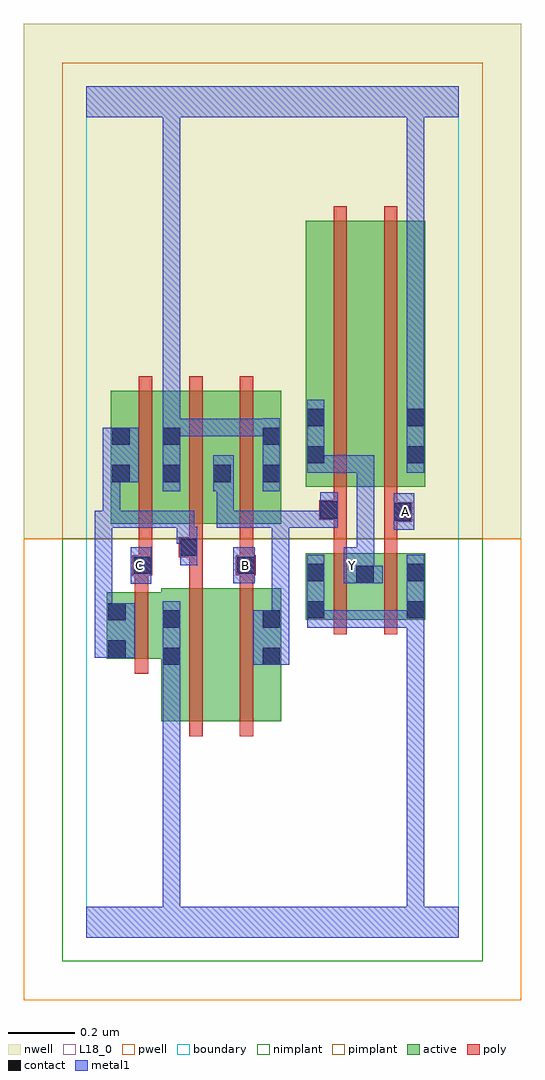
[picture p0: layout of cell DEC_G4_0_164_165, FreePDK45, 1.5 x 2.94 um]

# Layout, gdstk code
import gdstk
lib = gdstk.Library(unit=1e-6, precision=1e-09)
def R(c, l, rs):  # rectangles x0, y0, x1, y1
    for r in rs: c.add(gdstk.rectangle(r[:2], r[2:], *l))
def A(c, l, x, y, w, h, nx, ny, dx, dy):  # array of equal rectangles
    R(c, l, [(x+i*dx, y+j*dy, x+i*dx+w, y+j*dy+h) for i in range(nx) for j in range(ny)])
active = (1, 0)
pwell = (2, 0)
nwell = (3, 0)
nimplant = (4, 0)
pimplant = (5, 0)
poly = (9, 0)
contact = (10, 0)
metal1 = (11, 0)
L18_0 = (18, 0)
boundary = (235, 0)

dec_g4_0_164_165 = lib.new_cell('DEC_G4_0_164_165')
A(dec_g4_0_164_165, active, 0.074, 1.244, 0.06, 0.4, 3, 1, 0.152, 0)
R(dec_g4_0_164_165, active, [(0.226,0.65,0.406,1.05), (0.406,0.65,0.586,1.05), (0.526,0.704,0.586,1.05), (0.226,0.816,0.286,0.988), (0.062,0.838,0.122,1.038), (0.062,0.838,0.286,1.038), (0.66,0.956,0.72,1.156), (0.66,0.956,0.868,1.156), (0.808,0.956,1.02,1.156), (0.808,0.956,0.868,1.122), (0.96,0.956,1.02,1.156), (0.074,1.244,0.286,1.644), (0.226,1.244,0.438,1.644), (0.378,1.244,0.586,1.644), (0.526,1.244,0.586,1.644), (0.66,1.356,0.72,2.156), (0.66,1.356,0.84,2.156), (0.84,1.356,1.02,2.156), (0.96,1.356,1.02,2.156)])
R(dec_g4_0_164_165, pwell, [(-0.188,-0.188,1.308,1.2)])
R(dec_g4_0_164_165, nwell, [(-0.188,1.2,1.308,2.748)])
R(dec_g4_0_164_165, nimplant, [(-0.072,-0.072,1.192,1.2)])
R(dec_g4_0_164_165, pimplant, [(-0.072,1.2,1.192,2.632)])
A(dec_g4_0_164_165, poly, 0.158, 1.2, 0.04, 0.488, 3, 1, 0.152, 0)
R(dec_g4_0_164_165, poly, [(0.31,0.606,0.35,1.094), (0.462,0.606,0.502,1.094), (0.146,0.794,0.186,1.082), (0.744,0.912,0.784,1.2), (0.896,0.912,0.936,1.2), (0.146,1.042,0.186,1.13), (0.31,1.054,0.35,1.184), (0.462,1.054,0.502,1.13), (0.138,1.09,0.198,1.15), (0.45,1.09,0.51,1.15), (0.158,1.11,0.198,1.15), (0.158,1.11,0.198,1.15), (0.158,1.11,0.198,1.24), (0.462,1.11,0.502,1.15), (0.462,1.11,0.502,1.15), (0.462,1.11,0.502,1.24), (0.278,1.144,0.35,1.204), (0.31,1.144,0.35,1.184), (0.31,1.144,0.35,1.184), (0.744,1.16,0.784,1.296), (0.896,1.16,0.936,1.29), (0.31,1.164,0.35,1.24), (0.896,1.25,0.98,1.31), (0.7,1.256,0.784,1.316), (0.744,1.256,0.784,1.296), (0.744,1.256,0.784,1.296), (0.896,1.27,0.936,1.352), (0.896,1.27,0.936,1.31), (0.896,1.27,0.936,1.31), (0.744,1.276,0.784,1.352), (0.744,1.312,0.784,2.2), (0.896,1.312,0.936,2.2)])
A(dec_g4_0_164_165, contact, 0.078, 1.37, 0.052, 0.052, 3, 1, 0.152, 0)
R(dec_g4_0_164_165, contact, [(0.23,0.82,0.282,0.872), (0.53,0.82,0.582,0.872), (0.066,0.842,0.118,0.894), (0.23,0.932,0.282,0.984), (0.53,0.932,0.582,0.984), (0.066,0.954,0.118,1.006), (0.664,0.96,0.716,1.012), (0.964,0.96,1.016,1.012), (0.812,1.066,0.864,1.118), (0.664,1.072,0.716,1.124), (0.964,1.072,1.016,1.124), (0.142,1.094,0.194,1.146), (0.454,1.094,0.506,1.146), (0.282,1.148,0.334,1.2), (0.924,1.254,0.976,1.306), (0.704,1.26,0.756,1.312), (0.53,1.37,0.582,1.422), (0.664,1.426,0.716,1.478), (0.964,1.426,1.016,1.478), (0.078,1.482,0.13,1.534), (0.23,1.482,0.282,1.534), (0.53,1.482,0.582,1.534), (0.664,1.538,0.716,1.59), (0.964,1.538,1.016,1.59)])
R(dec_g4_0_164_165, metal1, [(0,0,1.12,0.092), (0.23,0.04,0.282,0.092), (0.23,0.04,0.282,0.092), (0.23,0.04,0.282,0.092), (0.23,0.04,0.282,0.092), (0.23,0.04,0.282,0.092), (0.23,0.04,0.282,0.092), (0.23,0.04,0.282,0.092), (0.23,0.04,0.282,0.092), (0.23,0.04,0.282,0.092), (0.23,0.04,0.282,0.092), (0.23,0.04,0.282,0.092), (0.23,0.04,0.282,0.092), (0.23,0.04,0.282,0.844), (0.964,0.04,1.016,0.092), (0.964,0.04,1.016,0.092), (0.964,0.04,1.016,0.092), (0.964,0.04,1.016,0.092), (0.964,0.04,1.016,0.092), (0.964,0.04,1.016,0.092), (0.964,0.04,1.016,0.092), (0.964,0.04,1.016,0.092), (0.964,0.04,1.016,0.092), (0.964,0.04,1.016,0.092), (0.964,0.04,1.016,0.092), (0.964,0.04,1.016,0.092), (0.964,0.04,1.016,0.092), (0.964,0.04,1.016,0.092), (0.964,0.04,1.016,0.092), (0.964,0.04,1.016,0.092), (0.964,0.04,1.016,0.984), (0.23,0.792,0.282,1.012), (0.502,0.82,0.61,0.984), (0.026,0.842,0.146,1.006), (0.558,0.932,0.61,1.284), (0.664,0.932,0.716,1.152), (0.664,0.932,0.866,0.984), (0.814,0.932,0.866,0.984), (0.814,0.932,0.866,0.984), (0.814,0.932,0.866,0.984), (0.814,0.932,1.016,0.984), (0.964,0.932,1.016,0.984), (0.964,0.932,1.016,0.984), (0.964,0.932,1.016,1.152), (0.026,0.954,0.078,1.284), (0.134,1.064,0.196,1.174), (0.442,1.066,0.506,1.174), (0.774,1.066,0.866,1.174), (0.784,1.066,0.836,1.118), (0.784,1.066,0.892,1.118), (0.282,1.12,0.334,1.236), (0.814,1.122,0.866,1.174), (0.814,1.122,0.866,1.174), (0.814,1.122,0.866,1.45), (0.272,1.184,0.334,1.236), (0.272,1.184,0.324,1.284), (0.924,1.226,0.986,1.336), (0.026,1.232,0.078,1.284), (0.026,1.232,0.078,1.284), (0.026,1.232,0.102,1.284), (0.05,1.232,0.102,1.284), (0.05,1.232,0.102,1.284), (0.05,1.232,0.324,1.284), (0.05,1.232,0.102,1.422), (0.392,1.232,0.444,1.284), (0.392,1.232,0.444,1.284), (0.392,1.232,0.444,1.284), (0.392,1.232,0.61,1.284), (0.392,1.232,0.444,1.394), (0.558,1.232,0.61,1.284), (0.558,1.232,0.61,1.284), (0.558,1.232,0.61,1.284), (0.558,1.232,0.692,1.284), (0.64,1.232,0.692,1.284), (0.64,1.232,0.756,1.284), (0.704,1.232,0.756,1.34), (0.23,1.342,0.282,1.562), (0.382,1.342,0.444,1.45), (0.53,1.342,0.582,1.562), (0.05,1.37,0.158,1.534), (0.664,1.398,0.716,1.618), (0.664,1.398,0.866,1.45), (0.814,1.398,0.866,1.45), (0.814,1.398,0.866,1.45), (0.814,1.398,0.866,1.45), (0.964,1.398,1.016,1.618), (0.23,1.508,0.282,1.56), (0.23,1.508,0.282,1.56), (0.23,1.508,0.444,1.56), (0.392,1.508,0.444,1.56), (0.392,1.508,0.444,1.56), (0.392,1.508,0.444,1.56), (0.392,1.508,0.582,1.56), (0.23,1.51,0.282,2.52), (0.964,1.566,1.016,1.618), (0.964,1.566,1.016,1.618), (0.964,1.566,1.016,2.52), (0,2.468,1.12,2.56), (0.23,2.468,0.282,2.52), (0.23,2.468,0.282,2.52), (0.23,2.468,0.282,2.52), (0.23,2.468,0.282,2.52), (0.23,2.468,0.282,2.52), (0.23,2.468,0.282,2.52), (0.23,2.468,0.282,2.52), (0.23,2.468,0.282,2.52), (0.23,2.468,0.282,2.52), (0.23,2.468,0.282,2.52), (0.23,2.468,0.282,2.52), (0.23,2.468,0.282,2.52), (0.23,2.468,0.282,2.52), (0.23,2.468,0.282,2.52), (0.23,2.468,0.282,2.52), (0.23,2.468,0.282,2.52), (0.964,2.468,1.016,2.52), (0.964,2.468,1.016,2.52), (0.964,2.468,1.016,2.52), (0.964,2.468,1.016,2.52), (0.964,2.468,1.016,2.52), (0.964,2.468,1.016,2.52)])
A(dec_g4_0_164_165, L18_0, 0.134, 1.094, 0.052, 0.052, 3, 1, 0.32, 0)
R(dec_g4_0_164_165, L18_0, [(0,0,1.12,0.092), (0.23,0.04,0.282,0.092), (0.23,0.04,0.282,0.092), (0.23,0.04,0.282,0.092), (0.23,0.04,0.282,0.092), (0.23,0.04,0.282,0.092), (0.23,0.04,0.282,0.092), (0.23,0.04,0.282,0.092), (0.23,0.04,0.282,0.092), (0.23,0.04,0.282,0.092), (0.23,0.04,0.282,0.092), (0.23,0.04,0.282,0.092), (0.23,0.04,0.282,0.092), (0.23,0.04,0.282,0.844), (0.964,0.04,1.016,0.092), (0.964,0.04,1.016,0.092), (0.964,0.04,1.016,0.092), (0.964,0.04,1.016,0.092), (0.964,0.04,1.016,0.092), (0.964,0.04,1.016,0.092), (0.964,0.04,1.016,0.092), (0.964,0.04,1.016,0.092), (0.964,0.04,1.016,0.092), (0.964,0.04,1.016,0.092), (0.964,0.04,1.016,0.092), (0.964,0.04,1.016,0.092), (0.964,0.04,1.016,0.092), (0.964,0.04,1.016,0.092), (0.964,0.04,1.016,0.092), (0.964,0.04,1.016,0.092), (0.964,0.04,1.016,0.984), (0.23,0.792,0.282,1.012), (0.664,0.932,0.716,1.152), (0.664,0.932,0.866,0.984), (0.814,0.932,0.866,0.984), (0.814,0.932,0.866,0.984), (0.814,0.932,0.866,0.984), (0.814,0.932,1.016,0.984), (0.964,0.932,1.016,0.984), (0.964,0.932,1.016,0.984), (0.964,0.932,1.016,1.152), (0.134,1.064,0.196,1.174), (0.442,1.066,0.506,1.174), (0.774,1.066,0.866,1.174), (0.784,1.066,0.836,1.118), (0.784,1.066,0.892,1.118), (0.814,1.122,0.866,1.174), (0.814,1.122,0.866,1.174), (0.814,1.122,0.866,1.45), (0.924,1.226,0.986,1.336), (0.934,1.254,0.986,1.306), (0.23,1.342,0.282,1.562), (0.53,1.342,0.582,1.562), (0.664,1.398,0.716,1.618), (0.664,1.398,0.866,1.45), (0.814,1.398,0.866,1.45), (0.814,1.398,0.866,1.45), (0.814,1.398,0.866,1.45), (0.964,1.398,1.016,1.618), (0.23,1.508,0.282,1.56), (0.23,1.508,0.282,1.56), (0.23,1.508,0.444,1.56), (0.392,1.508,0.444,1.56), (0.392,1.508,0.444,1.56), (0.392,1.508,0.444,1.56), (0.392,1.508,0.582,1.56), (0.23,1.51,0.282,2.52), (0.964,1.566,1.016,1.618), (0.964,1.566,1.016,1.618), (0.964,1.566,1.016,2.52), (0,2.468,1.12,2.56), (0.23,2.468,0.282,2.52), (0.23,2.468,0.282,2.52), (0.23,2.468,0.282,2.52), (0.23,2.468,0.282,2.52), (0.23,2.468,0.282,2.52), (0.23,2.468,0.282,2.52), (0.23,2.468,0.282,2.52), (0.23,2.468,0.282,2.52), (0.23,2.468,0.282,2.52), (0.23,2.468,0.282,2.52), (0.23,2.468,0.282,2.52), (0.23,2.468,0.282,2.52), (0.23,2.468,0.282,2.52), (0.23,2.468,0.282,2.52), (0.23,2.468,0.282,2.52), (0.23,2.468,0.282,2.52), (0.964,2.468,1.016,2.52), (0.964,2.468,1.016,2.52), (0.964,2.468,1.016,2.52), (0.964,2.468,1.016,2.52), (0.964,2.468,1.016,2.52), (0.964,2.468,1.016,2.52)])
R(dec_g4_0_164_165, boundary, [(0,0,1.12,2.56)])
dec_g4_0_164_165.add(gdstk.Label('A', (0.96,1.28), layer=11, texttype=0))
dec_g4_0_164_165.add(gdstk.Label('B', (0.48,1.12), layer=11, texttype=0))
dec_g4_0_164_165.add(gdstk.Label('C', (0.16,1.12), layer=11, texttype=0))
dec_g4_0_164_165.add(gdstk.Label('Y', (0.8,1.12), layer=11, texttype=0))

lib.write_gds('DEC_G4_0_164_165.gds')
